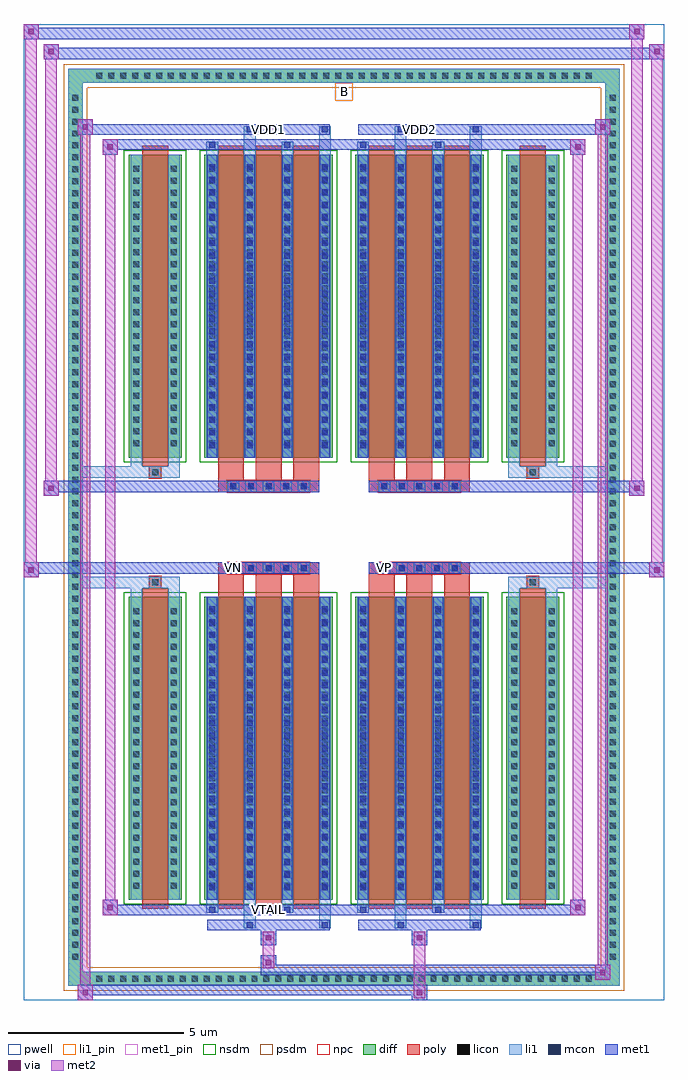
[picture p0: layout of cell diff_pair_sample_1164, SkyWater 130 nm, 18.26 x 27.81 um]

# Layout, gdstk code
import gdstk
lib = gdstk.Library(unit=1e-6, precision=5e-09)
def R(c, l, rs):  # rectangles x0, y0, x1, y1
    for r in rs: c.add(gdstk.rectangle(r[:2], r[2:], *l))
def A(c, l, x, y, w, h, nx, ny, dx, dy):  # array of equal rectangles
    R(c, l, [(x+i*dx, y+j*dy, x+i*dx+w, y+j*dy+h) for i in range(nx) for j in range(ny)])
def P(c, l, *ps):  # polygons
    for p in ps: c.add(gdstk.Polygon(p, *l))
pwell = (64, 44)
diff = (65, 20)
poly = (66, 20)
licon = (66, 44)
li1_pin = (67, 16)
li1 = (67, 20)
mcon = (67, 44)
met1_pin = (68, 16)
met1 = (68, 20)
via = (68, 44)
met2 = (69, 20)
nsdm = (93, 44)
psdm = (94, 20)
npc = (95, 20)

diff_pair_sample_1164 = lib.new_cell('diff_pair_sample_1164')
R(diff_pair_sample_1164, pwell, [(-9.13,-13.47,9.13,14.34), (-6.45,-11.66,-0.01,-0.8), (0.01,-11.66,6.45,-0.8), (-6.45,0.8,-0.01,11.66), (0.01,0.8,6.45,11.66)])
A(diff_pair_sample_1164, diff, -7.175, -13.07, 0.41, 0.41, 42, 2, 0.34, 25.73)
A(diff_pair_sample_1164, diff, -7.86, -12.445, 0.41, 0.41, 1, 73, 0, 0.34)
A(diff_pair_sample_1164, diff, 7.45, -12.445, 0.41, 0.41, 1, 73, 0, 0.34)
R(diff_pair_sample_1164, diff, [(-7.175,-13.07,7.175,-12.66), (-7.86,-12.445,-7.45,12.445), (7.45,-12.445,7.86,12.445), (-6.14,-10.615,-4.62,-1.985), (-3.98,-10.615,-0.32,-1.985), (0.32,-10.615,3.98,-1.985), (4.62,-10.615,6.14,-1.985), (-6.14,1.985,-4.62,10.615), (-3.98,1.985,-0.32,10.615), (0.32,1.985,3.98,10.615), (4.62,1.985,6.14,10.615), (-7.175,12.66,7.175,13.07)])
P(diff_pair_sample_1164, diff, [(7.86,13.07),(-7.86,13.07),(-7.86,-12.66),(-7.45,-12.66),(-7.45,12.66),(7.45,12.66),(7.45,-12.66),(-7.45,-12.66),(-7.86,-12.66),(-7.86,-13.07),(7.86,-13.07)])
A(diff_pair_sample_1164, poly, -3.59, -10.865, 0.74, 9.13, 3, 2, 1.07, 12.6)
A(diff_pair_sample_1164, poly, 0.71, -10.865, 0.74, 9.13, 3, 2, 1.07, 12.6)
A(diff_pair_sample_1164, poly, -3.59, -1.735, 0.74, 0.405, 3, 2, 1.07, 3.065)
A(diff_pair_sample_1164, poly, 0.71, -1.735, 0.74, 0.405, 3, 2, 1.07, 3.065)
A(diff_pair_sample_1164, poly, -3.315, -1.33, 0.33, 0.33, 5, 2, 0.5, 2.33)
A(diff_pair_sample_1164, poly, 0.985, -1.33, 0.33, 0.33, 5, 2, 0.5, 2.33)
R(diff_pair_sample_1164, poly, [(-5.75,-10.865,-5.01,-1.735), (5.01,-10.865,5.75,-1.735), (-5.545,-1.735,-5.215,-1.405), (-5.545,-1.735,-5.215,-1.405), (5.215,-1.735,5.545,-1.405), (5.215,-1.735,5.545,-1.405), (-3.59,-1.33,-0.71,-1), (0.71,-1.33,3.59,-1), (-3.59,1,-0.71,1.33), (0.71,1,3.59,1.33), (-5.545,1.405,-5.215,1.735), (-5.545,1.405,-5.215,1.735), (5.215,1.405,5.545,1.735), (5.215,1.405,5.545,1.735), (-5.75,1.735,-5.01,10.865), (5.01,1.735,5.75,10.865)])
A(diff_pair_sample_1164, licon, -7.055, -12.95, 0.17, 0.17, 42, 2, 0.34, 25.73)
A(diff_pair_sample_1164, licon, -7.74, -12.325, 0.17, 0.17, 1, 73, 0, 0.34)
A(diff_pair_sample_1164, licon, 7.57, -12.325, 0.17, 0.17, 1, 73, 0, 0.34)
A(diff_pair_sample_1164, licon, -6, -10.295, 0.17, 0.17, 1, 24, 0, 0.34)
A(diff_pair_sample_1164, licon, -4.93, -10.295, 0.17, 0.17, 1, 24, 0, 0.34)
A(diff_pair_sample_1164, licon, -3.84, -10.295, 0.17, 0.17, 4, 24, 1.07, 0.34)
A(diff_pair_sample_1164, licon, 0.46, -10.295, 0.17, 0.17, 4, 24, 1.07, 0.34)
A(diff_pair_sample_1164, licon, 4.76, -10.295, 0.17, 0.17, 1, 24, 0, 0.34)
A(diff_pair_sample_1164, licon, 5.83, -10.295, 0.17, 0.17, 1, 24, 0, 0.34)
A(diff_pair_sample_1164, licon, -3.235, -1.25, 0.17, 0.17, 5, 2, 0.5, 2.33)
A(diff_pair_sample_1164, licon, 1.065, -1.25, 0.17, 0.17, 5, 2, 0.5, 2.33)
A(diff_pair_sample_1164, licon, -6, 2.305, 0.17, 0.17, 1, 24, 0, 0.34)
A(diff_pair_sample_1164, licon, -4.93, 2.305, 0.17, 0.17, 1, 24, 0, 0.34)
A(diff_pair_sample_1164, licon, -3.84, 2.305, 0.17, 0.17, 4, 24, 1.07, 0.34)
A(diff_pair_sample_1164, licon, 0.46, 2.305, 0.17, 0.17, 4, 24, 1.07, 0.34)
A(diff_pair_sample_1164, licon, 4.76, 2.305, 0.17, 0.17, 1, 24, 0, 0.34)
A(diff_pair_sample_1164, licon, 5.83, 2.305, 0.17, 0.17, 1, 24, 0, 0.34)
R(diff_pair_sample_1164, licon, [(-5.465,-1.655,-5.295,-1.485), (5.295,-1.655,5.465,-1.485), (-5.465,1.485,-5.295,1.655), (5.295,1.485,5.465,1.655)])
R(diff_pair_sample_1164, li1_pin, [(-0.25,12.16,0.25,12.66)])
A(diff_pair_sample_1164, li1, -7.135, -13.03, 0.33, 0.33, 42, 2, 0.34, 25.73)
A(diff_pair_sample_1164, li1, -7.82, -12.405, 0.33, 0.33, 1, 73, 0, 0.34)
A(diff_pair_sample_1164, li1, 7.49, -12.405, 0.33, 0.33, 1, 73, 0, 0.34)
A(diff_pair_sample_1164, li1, -3.92, -10.615, 0.33, 8.63, 4, 2, 1.07, 12.6)
A(diff_pair_sample_1164, li1, 0.38, -10.615, 0.33, 8.63, 4, 2, 1.07, 12.6)
A(diff_pair_sample_1164, li1, -6.08, -10.375, 0.33, 0.33, 1, 24, 0, 0.34)
A(diff_pair_sample_1164, li1, -5.01, -10.375, 0.33, 0.33, 1, 24, 0, 0.34)
A(diff_pair_sample_1164, li1, -3.92, -10.375, 0.33, 0.33, 4, 24, 1.07, 0.34)
A(diff_pair_sample_1164, li1, 0.38, -10.375, 0.33, 0.33, 4, 24, 1.07, 0.34)
A(diff_pair_sample_1164, li1, 4.68, -10.375, 0.33, 0.33, 1, 24, 0, 0.34)
A(diff_pair_sample_1164, li1, 5.75, -10.375, 0.33, 0.33, 1, 24, 0, 0.34)
A(diff_pair_sample_1164, li1, -3.84, -10.345, 0.17, 0.17, 4, 23, 1.07, 0.36)
A(diff_pair_sample_1164, li1, -3.84, -10.345, 0.17, 8.09, 4, 2, 1.07, 12.6)
A(diff_pair_sample_1164, li1, 0.46, -10.345, 0.17, 0.17, 4, 23, 1.07, 0.36)
A(diff_pair_sample_1164, li1, 0.46, -10.345, 0.17, 8.09, 4, 2, 1.07, 12.6)
A(diff_pair_sample_1164, li1, -3.315, -1.33, 0.33, 0.33, 5, 2, 0.5, 2.33)
A(diff_pair_sample_1164, li1, 0.985, -1.33, 0.33, 0.33, 5, 2, 0.5, 2.33)
A(diff_pair_sample_1164, li1, -6.08, 2.225, 0.33, 0.33, 1, 24, 0, 0.34)
A(diff_pair_sample_1164, li1, -5.01, 2.225, 0.33, 0.33, 1, 24, 0, 0.34)
A(diff_pair_sample_1164, li1, -3.92, 2.225, 0.33, 0.33, 4, 24, 1.07, 0.34)
A(diff_pair_sample_1164, li1, 0.38, 2.225, 0.33, 0.33, 4, 24, 1.07, 0.34)
A(diff_pair_sample_1164, li1, 4.68, 2.225, 0.33, 0.33, 1, 24, 0, 0.34)
A(diff_pair_sample_1164, li1, 5.75, 2.225, 0.33, 0.33, 1, 24, 0, 0.34)
A(diff_pair_sample_1164, li1, -3.84, 2.255, 0.17, 0.17, 4, 23, 1.07, 0.36)
A(diff_pair_sample_1164, li1, 0.46, 2.255, 0.17, 0.17, 4, 23, 1.07, 0.36)
R(diff_pair_sample_1164, li1, [(-7.86,-13.07,-7.45,-12.66), (-7.86,-13.07,-7.45,-12.66), (-7.45,-13.07,7.45,-12.66), (7.45,-13.07,7.86,-12.66), (7.45,-13.07,7.86,-12.66), (-7.86,-12.66,-7.45,12.66), (7.45,-12.66,7.86,12.66), (-2.85,-11.42,-2.52,-10.615), (-2.77,-11.42,-2.6,-11.25), (-0.71,-11.42,-0.38,-10.615), (-0.63,-11.42,-0.46,-11.25), (1.45,-11.42,1.78,-10.615), (1.53,-11.42,1.7,-11.25), (3.59,-11.42,3.92,-10.615), (3.67,-11.42,3.84,-11.25), (-3.92,-10.99,-3.59,-10.615), (-3.84,-10.99,-3.67,-10.82), (-1.78,-10.99,-1.45,-10.615), (-1.7,-10.99,-1.53,-10.82), (0.38,-10.99,0.71,-10.615), (0.46,-10.99,0.63,-10.82), (2.52,-10.99,2.85,-10.615), (2.6,-10.99,2.77,-10.82), (-6.08,-10.615,-5.75,-1.985), (-5.01,-10.615,-4.68,-1.985), (4.68,-10.615,5.01,-1.985), (5.75,-10.615,6.08,-1.985), (-6.08,-1.985,-5.75,-1.405), (-5.01,-1.985,-4.68,-1.405), (4.68,-1.985,5.01,-1.405), (5.75,-1.985,6.08,-1.405), (-7.86,-1.735,-5.545,-1.405), (-6.08,-1.735,-5.545,-1.405), (-5.545,-1.735,-5.215,-1.405), (-5.215,-1.735,-4.68,-1.405), (4.68,-1.735,5.215,-1.405), (5.215,-1.735,5.545,-1.405), (5.215,-1.735,7.86,-1.405), (5.545,-1.735,6.08,-1.405), (-7.86,1.405,-5.545,1.735), (-6.08,1.405,-5.545,1.735), (-6.08,1.405,-5.75,1.985), (-5.545,1.405,-5.215,1.735), (-5.215,1.405,-4.68,1.735), (-5.01,1.405,-4.68,1.985), (4.68,1.405,5.215,1.735), (4.68,1.405,5.01,1.985), (5.215,1.405,5.545,1.735), (5.215,1.405,7.86,1.735), (5.545,1.405,6.08,1.735), (5.75,1.405,6.08,1.985), (-6.08,1.985,-5.75,10.615), (-5.01,1.985,-4.68,10.615), (4.68,1.985,5.01,10.615), (5.75,1.985,6.08,10.615), (-3.92,10.615,-3.59,10.99), (-2.85,10.615,-2.52,11.42), (-1.78,10.615,-1.45,10.99), (-0.71,10.615,-0.38,11.42), (0.38,10.615,0.71,10.99), (1.45,10.615,1.78,11.42), (2.52,10.615,2.85,10.99), (3.59,10.615,3.92,11.42), (-3.84,10.82,-3.67,10.99), (-1.7,10.82,-1.53,10.99), (0.46,10.82,0.63,10.99), (2.6,10.82,2.77,10.99), (-2.77,11.25,-2.6,11.42), (-0.63,11.25,-0.46,11.42), (1.53,11.25,1.7,11.42), (3.67,11.25,3.84,11.42), (-7.86,12.66,-7.45,13.07), (-7.86,12.66,-7.45,13.07), (-7.45,12.66,7.45,13.07), (7.45,12.66,7.86,13.07), (7.45,12.66,7.86,13.07)])
A(diff_pair_sample_1164, mcon, -3.84, -10.345, 0.17, 0.17, 4, 23, 1.07, 0.36)
A(diff_pair_sample_1164, mcon, 0.46, -10.345, 0.17, 0.17, 4, 23, 1.07, 0.36)
A(diff_pair_sample_1164, mcon, -3.235, -1.25, 0.17, 0.17, 5, 2, 0.5, 2.33)
A(diff_pair_sample_1164, mcon, 1.065, -1.25, 0.17, 0.17, 5, 2, 0.5, 2.33)
A(diff_pair_sample_1164, mcon, -3.84, 2.255, 0.17, 0.17, 4, 23, 1.07, 0.36)
A(diff_pair_sample_1164, mcon, 0.46, 2.255, 0.17, 0.17, 4, 23, 1.07, 0.36)
R(diff_pair_sample_1164, mcon, [(-2.77,-11.42,-2.6,-11.25), (-0.63,-11.42,-0.46,-11.25), (1.53,-11.42,1.7,-11.25), (3.67,-11.42,3.84,-11.25), (-3.84,-10.99,-3.67,-10.82), (-1.7,-10.99,-1.53,-10.82), (0.46,-10.99,0.63,-10.82), (2.6,-10.99,2.77,-10.82), (-3.84,10.82,-3.67,10.99), (-1.7,10.82,-1.53,10.99), (0.46,10.82,0.63,10.99), (2.6,10.82,2.77,10.99), (-2.77,11.25,-2.6,11.42), (-0.63,11.25,-0.46,11.42), (1.53,11.25,1.7,11.42), (3.67,11.25,3.84,11.42)])
R(diff_pair_sample_1164, met1_pin, [(-2.285,-11.03,-2.015,-10.76), (-3.285,-1.29,-3.015,-1.02), (1.015,-1.29,1.285,-1.02), (-2.285,11.21,-2.015,11.48), (2.015,11.21,2.285,11.48)])
A(diff_pair_sample_1164, met1, -3.9, -10.615, 0.29, 8.63, 4, 2, 1.07, 12.6)
A(diff_pair_sample_1164, met1, 0.4, -10.615, 0.29, 8.63, 4, 2, 1.07, 12.6)
A(diff_pair_sample_1164, met1, -3.9, -10.405, 0.29, 0.29, 4, 23, 1.07, 0.36)
A(diff_pair_sample_1164, met1, 0.4, -10.405, 0.29, 0.29, 4, 23, 1.07, 0.36)
A(diff_pair_sample_1164, met1, -3.295, -1.31, 0.29, 0.29, 5, 2, 0.5, 2.33)
A(diff_pair_sample_1164, met1, 1.005, -1.31, 0.29, 0.29, 5, 2, 0.5, 2.33)
A(diff_pair_sample_1164, met1, -3.9, 2.195, 0.29, 0.29, 4, 23, 1.07, 0.36)
A(diff_pair_sample_1164, met1, 0.4, 2.195, 0.29, 0.29, 4, 23, 1.07, 0.36)
R(diff_pair_sample_1164, met1, [(-7.59,-13.47,-7.16,-13.04), (1.935,-13.47,2.365,-13.04), (-7.59,-13.33,2.365,-13.04), (7.16,-12.9,7.59,-12.47), (-2.365,-12.76,7.59,-12.47), (-2.365,-12.62,-1.935,-12.19), (-2.365,-11.91,-1.935,-11.48), (1.935,-11.91,2.365,-11.48), (-3.9,-11.48,-0.4,-11.19), (-2.83,-11.48,-2.54,-11.19), (-0.69,-11.48,-0.4,-11.19), (0.4,-11.48,3.9,-11.19), (1.47,-11.48,1.76,-11.19), (3.61,-11.48,3.9,-11.19), (-6.88,-11.05,-6.45,-10.62), (-6.88,-11.05,-3.9,-10.76), (-3.9,-11.05,-3.61,-10.76), (-3.9,-11.05,-0.4,-10.76), (-1.76,-11.05,-1.47,-10.76), (-0.4,-11.05,0.4,-10.76), (0.4,-11.05,0.69,-10.76), (0.4,-11.05,3.9,-10.76), (2.54,-11.05,2.83,-10.76), (3.9,-11.05,6.88,-10.76), (6.45,-11.05,6.88,-10.62), (-9.13,-1.43,-8.7,-1), (8.7,-1.43,9.13,-1), (-9.13,-1.33,-0.71,-1), (-3.59,-1.33,-0.71,-1), (0.71,-1.33,3.59,-1), (0.71,-1.33,9.13,-1), (-8.56,0.9,-8.13,1.33), (8.13,0.9,8.56,1.33), (-8.56,1,-3.59,1.33), (-3.59,1,-0.71,1.33), (0.71,1,3.59,1.33), (3.59,1,8.56,1.33), (-6.88,10.62,-6.45,11.05), (6.45,10.62,6.88,11.05), (-6.88,10.76,-3.9,11.05), (-3.9,10.76,-3.61,11.05), (-3.9,10.76,-0.4,11.05), (-1.76,10.76,-1.47,11.05), (-0.4,10.76,0.4,11.05), (0.4,10.76,0.69,11.05), (0.4,10.76,3.9,11.05), (2.54,10.76,2.83,11.05), (3.9,10.76,6.88,11.05), (-7.59,11.19,-7.16,11.62), (-7.59,11.19,-3.9,11.48), (-3.9,11.19,-0.4,11.48), (-2.83,11.19,-2.54,11.48), (-0.69,11.19,-0.4,11.48), (0.4,11.19,3.9,11.48), (1.47,11.19,1.76,11.48), (3.61,11.19,3.9,11.48), (3.9,11.19,7.59,11.48), (7.16,11.19,7.59,11.62), (-8.56,13.34,-8.13,13.77), (-8.56,13.34,-6.45,13.67), (-6.45,13.34,6.45,13.67), (6.45,13.34,9.13,13.67), (8.7,13.34,9.13,13.77), (-9.13,13.91,-8.7,14.34), (-9.13,13.91,-6.45,14.24), (-6.45,13.91,6.45,14.24), (6.45,13.91,8.56,14.24), (8.13,13.91,8.56,14.34)])
R(diff_pair_sample_1164, via, [(-7.45,-13.33,-7.3,-13.18), (2.075,-13.33,2.225,-13.18), (7.3,-12.76,7.45,-12.61), (-2.225,-12.48,-2.075,-12.33), (-2.225,-11.77,-2.075,-11.62), (2.075,-11.77,2.225,-11.62), (-6.74,-10.91,-6.59,-10.76), (6.59,-10.91,6.74,-10.76), (-8.99,-1.29,-8.84,-1.14), (8.84,-1.29,8.99,-1.14), (-8.42,1.04,-8.27,1.19), (8.27,1.04,8.42,1.19), (-6.74,10.76,-6.59,10.91), (6.59,10.76,6.74,10.91), (-7.45,11.33,-7.3,11.48), (7.3,11.33,7.45,11.48), (-8.42,13.48,-8.27,13.63), (8.84,13.48,8.99,13.63), (-8.99,14.05,-8.84,14.2), (8.27,14.05,8.42,14.2)])
R(diff_pair_sample_1164, met2, [(-7.59,-13.47,-7.16,-13.04), (-7.52,-13.47,-7.23,11.62), (-7.23,-13.47,-7.16,-13.04), (-7.54,-13.42,-7.21,-13.09), (1.985,-13.42,2.315,-13.09), (1.985,-13.09,2.315,-11.86), (7.16,-12.9,7.59,-12.47), (7.23,-12.9,7.52,11.62), (7.52,-12.9,7.59,-12.47), (7.21,-12.85,7.54,-12.52), (-2.315,-12.57,-1.985,-12.24), (-2.315,-12.24,-1.985,-11.86), (-2.315,-11.86,-1.985,-11.53), (1.985,-11.86,2.315,-11.53), (-6.88,-11.05,-6.45,-10.62), (-6.81,-11.05,-6.52,11.05), (-6.52,-11.05,-6.45,-10.62), (6.45,-11.05,6.88,-10.62), (6.52,-11.05,6.81,11.05), (6.81,-11.05,6.88,-10.62), (-6.83,-11,-6.5,-10.67), (6.5,-11,6.83,-10.67), (-9.13,-1.43,-8.7,-1), (-9.08,-1.43,-8.75,14.34), (-8.75,-1.43,-8.7,-1), (8.7,-1.43,9.13,-1), (8.75,-1.43,9.08,13.77), (9.08,-1.43,9.13,-1), (-9.08,-1.38,-8.75,-1.05), (8.75,-1.38,9.08,-1.05), (-8.56,0.9,-8.13,1.33), (-8.51,0.9,-8.18,13.77), (-8.18,0.9,-8.13,1.33), (8.13,0.9,8.56,1.33), (8.18,0.9,8.51,14.34), (8.51,0.9,8.56,1.33), (-8.51,0.95,-8.18,1.28), (8.18,0.95,8.51,1.28), (-6.88,10.62,-6.45,11.05), (-6.52,10.62,-6.45,11.05), (6.45,10.62,6.88,11.05), (6.81,10.62,6.88,11.05), (-6.83,10.67,-6.5,11), (6.5,10.67,6.83,11), (-7.59,11.19,-7.16,11.62), (-7.23,11.19,-7.16,11.62), (7.16,11.19,7.59,11.62), (7.52,11.19,7.59,11.62), (-7.54,11.24,-7.21,11.57), (7.21,11.24,7.54,11.57), (-8.56,13.34,-8.13,13.77), (-8.18,13.34,-8.13,13.77), (8.7,13.34,9.13,13.77), (9.08,13.34,9.13,13.77), (-8.51,13.39,-8.18,13.72), (8.75,13.39,9.08,13.72), (-9.13,13.91,-8.7,14.34), (-8.75,13.91,-8.7,14.34), (8.13,13.91,8.56,14.34), (8.51,13.91,8.56,14.34), (-9.08,13.96,-8.75,14.29), (8.18,13.96,8.51,14.29)])
R(diff_pair_sample_1164, nsdm, [(-6.27,-10.745,-4.49,-1.855), (-4.11,-10.745,-0.19,-1.855), (0.19,-10.745,4.11,-1.855), (4.49,-10.745,6.27,-1.855), (-6.27,1.855,-4.49,10.745), (-4.11,1.855,-0.19,10.745), (0.19,1.855,4.11,10.745), (4.49,1.855,6.27,10.745)])
P(diff_pair_sample_1164, psdm, [(7.99,13.2),(-7.99,13.2),(-7.99,-12.53),(-7.32,-12.53),(-7.32,12.53),(7.32,12.53),(7.32,-12.53),(-7.32,-12.53),(-7.99,-12.53),(-7.99,-13.2),(7.99,-13.2)])
A(diff_pair_sample_1164, npc, -3.335, -1.35, 0.37, 0.37, 5, 2, 0.5, 2.33)
A(diff_pair_sample_1164, npc, 0.965, -1.35, 0.37, 0.37, 5, 2, 0.5, 2.33)
R(diff_pair_sample_1164, npc, [(-5.565,-1.755,-5.195,-1.385), (5.195,-1.755,5.565,-1.385), (-3.335,-1.35,-2.465,-0.98), (-3.335,-1.35,-2.465,-0.98), (-2.835,-1.35,-1.965,-0.98), (-2.835,-1.35,-1.965,-0.98), (-2.335,-1.35,-1.465,-0.98), (-2.335,-1.35,-1.465,-0.98), (-1.835,-1.35,-0.965,-0.98), (-1.835,-1.35,-0.965,-0.98), (0.965,-1.35,1.835,-0.98), (0.965,-1.35,1.835,-0.98), (1.465,-1.35,2.335,-0.98), (1.465,-1.35,2.335,-0.98), (1.965,-1.35,2.835,-0.98), (1.965,-1.35,2.835,-0.98), (2.465,-1.35,3.335,-0.98), (2.465,-1.35,3.335,-0.98), (-3.335,0.98,-2.465,1.35), (-3.335,0.98,-2.465,1.35), (-2.835,0.98,-1.965,1.35), (-2.835,0.98,-1.965,1.35), (-2.335,0.98,-1.465,1.35), (-2.335,0.98,-1.465,1.35), (-1.835,0.98,-0.965,1.35), (-1.835,0.98,-0.965,1.35), (0.965,0.98,1.835,1.35), (0.965,0.98,1.835,1.35), (1.465,0.98,2.335,1.35), (1.465,0.98,2.335,1.35), (1.965,0.98,2.835,1.35), (1.965,0.98,2.835,1.35), (2.465,0.98,3.335,1.35), (2.465,0.98,3.335,1.35), (-5.565,1.385,-5.195,1.755), (5.195,1.385,5.565,1.755)])
diff_pair_sample_1164.add(gdstk.Label('VTAIL', (-2.15,-10.895), layer=68, texttype=5))
diff_pair_sample_1164.add(gdstk.Label('VN', (-3.15,-1.155), layer=68, texttype=5))
diff_pair_sample_1164.add(gdstk.Label('VP', (1.15,-1.155), layer=68, texttype=5))
diff_pair_sample_1164.add(gdstk.Label('B', (0,12.41), layer=67, texttype=5))
diff_pair_sample_1164.add(gdstk.Label('VDD2', (2.15,11.345), layer=68, texttype=5))
diff_pair_sample_1164.add(gdstk.Label('VDD1', (-2.15,11.345), layer=68, texttype=5))

lib.write_gds('diff_pair_sample_1164.gds')
